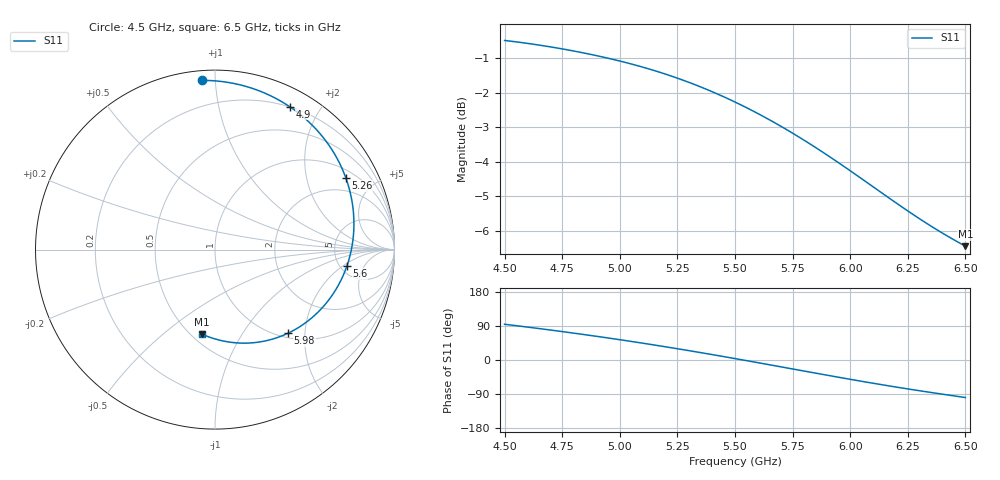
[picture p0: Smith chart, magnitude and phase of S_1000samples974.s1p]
! TOUCHSTONE file generated by CST MICROWAVE STUDIO
! Date and time: Sat Oct 29 23:26:16 2022
! Project name: L.cst
! Parameters = {Di=1.27; Epsilon_r=1.56; InnerDiameter=1.27; Length=2; Lf=10; Lg=60; OuterConductorThickness=0.2921; OuterDiameter=3.6; Wf=3; Wp=41.2; de=1.5; df=6.8; g=0.8; gx=2.75727; gy=4.54608; h=2.34; hf=1.524; px=12.0195; py=12.5945; w=9.7; wx=9.26225; wy=8.04838}
! Header version: 2018
! Port assignment regex: !\s*Touchstone port\s*([0-9]+)\s*=\s*(CST MWS port|CST DS port)\s*([0-9]+|Zmin|Zmax)\s*\(\"(.*)\"\)(\s*mode\s*([0-9]+))?.*
! Touchstone port assignment:
! Touchstone port 1 = CST MWS port 1 ("")
# GHz S DB R 50
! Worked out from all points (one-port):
!   101 points, 4.5 GHz to 6.5 GHz, reference 50 ohm
!   lowest |S11| = -6.4 dB at 6.5 GHz (marker M1), VSWR 2.82, Z = 28.1 - j34.2 ohm
!   |S11| at or under -10 dB: nowhere
!   S11 on the Smith chart (normalised r, x): 4.5 GHz: 0.05, +0.93; 4.9 GHz: 0.20, +1.63; 5.26 GHz: 1.33, +3.43; 5.6 GHz: 5.74, -2.33; 5.98 GHz: 1.09, -1.64; 6.5 GHz: 0.56, -0.68
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4.5  -0.49 94.3
4.58  -0.56 88.3
4.64  -0.61 83.7
4.76  -0.75 74.2
4.84  -0.85 67.5
4.9  -0.93 62.4
5  -1.09 53.5
5.06  -1.19 48.1
5.14  -1.34 40.5
5.2  -1.47 34.7
5.26  -1.61 28.7
5.32  -1.75 22.7
5.38  -1.91 16.5
5.44  -2.09 10.1
5.5  -2.27 3.7
5.6  -2.61 -7.1
5.68  -2.90 -15.9
5.76  -3.22 -24.7
5.82  -3.46 -31.4
5.88  -3.72 -38.0
5.98  -4.17 -48.8
6  -4.26 -50.9
6.06  -4.54 -57.3
6.12  -4.82 -63.5
6.18  -5.11 -69.5
6.26  -5.47 -77.3
6.38  -5.99 -88.4
6.5  -6.45 -99.0
